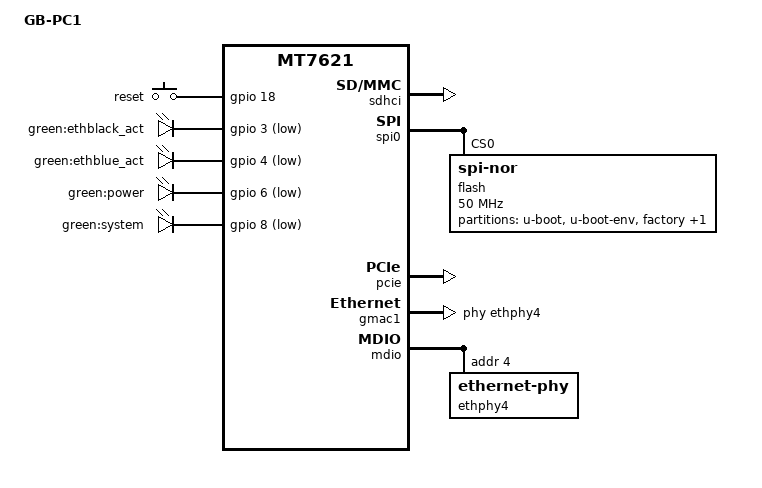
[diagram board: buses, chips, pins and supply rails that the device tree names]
#include "mt7621.dtsi"

#include <dt-bindings/gpio/gpio.h>
#include <dt-bindings/input/input.h>

/ {
	compatible = "gnubee,gb-pc1", "mediatek,mt7621-soc";
	model = "GB-PC1";

	aliases {
		led-boot = &led_system;
		led-failsafe = &led_system;
		led-running = &led_system;
		led-upgrade = &led_system;
	};

	keys {
		compatible = "gpio-keys";

		reset {
			label = "reset";
			gpios = <&gpio 18 GPIO_ACTIVE_HIGH>;
			linux,code = <KEY_RESTART>;
		};
	};

	leds {
		compatible = "gpio-leds";

		ethblack_act {
			label = "green:ethblack_act";
			gpios = <&gpio 3 GPIO_ACTIVE_LOW>;
		};

		ethblue_act {
			label = "green:ethblue_act";
			gpios = <&gpio 4 GPIO_ACTIVE_LOW>;
		};

		power {
			label = "green:power";
			gpios = <&gpio 6 GPIO_ACTIVE_LOW>;
			linux,default-trigger = "default-on";
		};

		led_system: system {
			label = "green:system";
			gpios = <&gpio 8 GPIO_ACTIVE_LOW>;
			linux,default-trigger = "disk-activity";
		};
	};
};

&sdhci {
	status = "okay";
};

&spi0 {
	status = "okay";

	flash@0 {
		compatible = "jedec,spi-nor";
		reg = <0>;
		spi-max-frequency = <50000000>;
		broken-flash-reset;

		partitions {
			compatible = "fixed-partitions";
			#address-cells = <1>;
			#size-cells = <1>;

			partition@0 {
				label = "u-boot";
				reg = <0x0 0x30000>;
				read-only;
			};

			partition@30000 {
				label = "u-boot-env";
				reg = <0x30000 0x10000>;
				read-only;
			};

			factory: partition@40000 {
				label = "factory";
				reg = <0x40000 0x10000>;
				read-only;
			};

			partition@50000 {
				compatible = "denx,uimage";
				label = "firmware";
				reg = <0x50000 0x1fb0000>;
			};
		};
	};
};

&pcie {
	status = "okay";
};

&gmac0 {
	mtd-mac-address = <&factory 0xe000>;
};

&gmac1 {
	status = "okay";
	label = "ethblue";
	phy-handle = <&ethphy4>;
	mtd-mac-address = <&factory 0xe000>;
};

&mdio {
	ethphy4: ethernet-phy@4 {
		reg = <4>;
	};
};

&switch0 {
	ports {
		port@0 {
			status = "okay";
			label = "ethblack";
		};
	};
};

&state_default {
	gpio {
		groups = "jtag", "uart3", "wdt";
		function = "gpio";
	};
};
